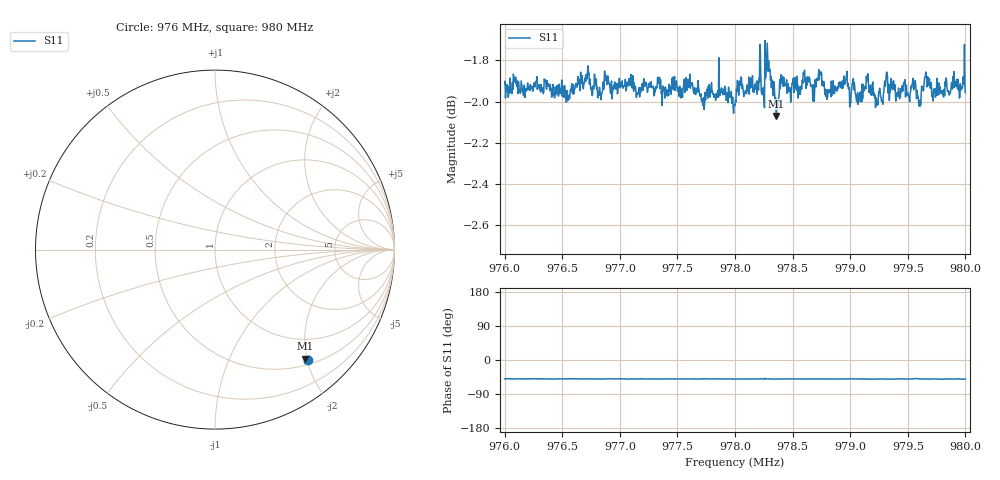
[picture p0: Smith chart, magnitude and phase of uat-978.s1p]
! Calibrated averaged scanner-service zoom
# Hz S RI R 50
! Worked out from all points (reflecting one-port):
!   1001 points, 976 MHz to 980 MHz, reference 50 ohm
!   lowest |S11| = -2.1 dB at 978.36 MHz (marker M1), VSWR 8.43, Z = 30.8 - j98.5 ohm
!   phase of S11 starts at -50 deg and turns -0 deg over the sweep
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9.76e8  0.5176 -0.6129
9.765e8  0.5139 -0.6087
9.7672e8  0.5234 -0.6151
9.76832e8  0.5109 -0.6124
9.77e8  0.5197 -0.6088
9.7708e8  0.512 -0.6206
9.77164e8  0.513 -0.6126
9.775e8  0.5121 -0.6132
9.77864e8  0.5147 -0.6128
9.78e8  0.5074 -0.6088
9.78044e8  0.5165 -0.6137
9.78252e8  0.5123 -0.6071
9.78276e8  0.5284 -0.6224
9.7836e8  0.5022 -0.6071
9.785e8  0.5177 -0.613
9.78732e8  0.5167 -0.616
9.78796e8  0.5146 -0.6096
9.78876e8  0.5112 -0.6163
9.79e8  0.5131 -0.6071
9.79164e8  0.5045 -0.6186
9.79248e8  0.5139 -0.6115
9.79312e8  0.5118 -0.6222
9.795e8  0.5102 -0.614
9.79572e8  0.5263 -0.6018
9.79616e8  0.5126 -0.611
9.79668e8  0.5133 -0.6147
9.79728e8  0.5112 -0.6132
9.8e8  0.5117 -0.6126
